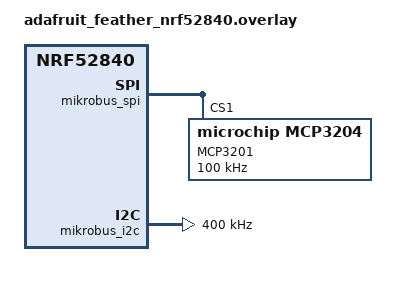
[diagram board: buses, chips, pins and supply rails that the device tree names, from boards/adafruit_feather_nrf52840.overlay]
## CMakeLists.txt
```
# SPDX-License-Identifier: Apache-2.0
set_property(GLOBAL PROPERTY CSTD c11)

set(SHIELD mikroe_feather_click mikroe_eth_click)

cmake_minimum_required(VERSION 3.13.1)
find_package(Zephyr REQUIRED HINTS $ENV{ZEPHYR_BASE})
project(dumb_http_server)

# FILE(GLOB app_sources src/*.c)
FILE(GLOB app_sources src/extra.c src/output/*.c)
target_sources(app PRIVATE ${app_sources})

set(gen_dir ${ZEPHYR_BINARY_DIR}/include/generated/)

generate_inc_file_for_target(app src/response_small.html.bin ${gen_dir}/response_small.html.bin.inc)
generate_inc_file_for_target(app src/response_big.html.bin   ${gen_dir}/response_big.html.bin.inc)

include(${ZEPHYR_BASE}/samples/net/common/common.cmake)
```

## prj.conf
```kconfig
# General config
# CONFIG_MINIMAL_LIBC=y
CONFIG_NEWLIB_LIBC=y
CONFIG_NEWLIB_LIBC_NANO=y
CONFIG_POSIX_API=y

CONFIG_BOOTLOADER_MCUBOOT=y
CONFIG_MCUBOOT_SIGNATURE_KEY_FILE="bootloader/mcuboot/root-rsa-2048.pem"
CONFIG_REBOOT=y
CONFIG_IMG_ENABLE_IMAGE_CHECK=y

CONFIG_FLASH=y
CONFIG_FLASH_PAGE_LAYOUT=y
CONFIG_MCUBOOT_BOOTUTIL_LIB=y
CONFIG_IMG_MANAGER=y
CONFIG_MCUBOOT_IMG_MANAGER=y
CONFIG_MCUBOOT_TRAILER_SWAP_TYPE=y

CONFIG_PRINTK=y
CONFIG_STDOUT_CONSOLE=y

CONFIG_POSIX_API=y

CONFIG_SPI=y
CONFIG_I2C=y

CONFIG_LOG=y
CONFIG_LOG_DEFAULT_LEVEL=3

CONFIG_ENTROPY_GENERATOR=y
CONFIG_TEST_RANDOM_GENERATOR=y

# Networking tweaks
# Required to handle large number of consecutive connections,
# e.g. when testing with ApacheBench.
CONFIG_NET_TCP_TIME_WAIT_DELAY=3
```

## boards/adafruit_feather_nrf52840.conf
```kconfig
CONFIG_NETWORKING=y
CONFIG_NET_IPV4=y
CONFIG_NET_IPV6=y
CONFIG_NET_TCP=y
CONFIG_NET_SOCKETS=y
CONFIG_NET_SOCKETS_POSIX_NAMES=y

CONFIG_NET_CONFIG_AUTO_INIT=y
# Network driver config
# CONFIG_TEST_RANDOM_GENERATOR=y
CONFIG_NET_DHCPV4=n

# Network address config
CONFIG_NET_CONFIG_SETTINGS=y
CONFIG_NET_CONFIG_NEED_IPV4=y
CONFIG_NET_CONFIG_NEED_IPV6=y

# Networking tweaks
# CONFIG_NET_TCP_TIME_WAIT_DELAY=3

# Network debug config
CONFIG_NET_LOG=y


# CONFIG_NET_BUF_LOG_LEVEL_WRN=y
# CONFIG_NET_MAX_CONN=6
# CONFIG_NET_MAX_CONTEXTS=3
# CONFIG_NET_PKT_RX_COUNT=8
# CONFIG_NET_PKT_TX_COUNT=8
# CONFIG_NET_BUF_RX_COUNT=10
# CONFIG_NET_BUF_TX_COUNT=10

CONFIG_NET_LOG=y
CONFIG_NET_ROUTE_LOG_LEVEL_INF=y
# CONFIG_NET_ROUTE_MCAST is not set

CONFIG_NET_CONFIG_MY_IPV4_ADDR="10.0.7.8"
CONFIG_NET_CONFIG_MY_IPV4_GW="10.0.7.0"
# CONFIG_NET_CONFIG_MY_IPV4_ADDR="10.1.1.224"
CONFIG_NET_CONFIG_MY_IPV6_ADDR="2001:db8::6"
# CONFIG_NET_IPV6_NBR_CACHE_LOG_LEVEL_DEFAULT is not set
# CONFIG_NET_IPV6_LOG_LEVEL_ERR=y
# CONFIG_NET_IPV6_NBR_CACHE_LOG_LEVEL_ERR=y

# CONFIG_NET_CONFIG_PEER_IPV6_ADDR=""
# CONFIG_NET_IPV6_ND=y
# CONFIG_NET_IPV6_MLD=y
# CONFIG_NET_IPV6_MAX_NEIGHBORS=12
# CONFIG_NET_IF_MCAST_IPV6_ADDR_COUNT=8
# CONFIG_NET_IF_UNICAST_IPV6_ADDR_COUNT=8
# CONFIG_NET_ROUTE_MCAST=n
# CONFIG_NET_MAX_MCAST_ROUTES=n

# CONFIG_NET_CONFIG_MY_IPV4_ADDR="10.0.6.86"
# CONFIG_NET_CONFIG_PEER_IPV4_ADDR="10.42.0.5"

CONFIG_MAIN_STACK_SIZE=16384
CONFIG_HEAP_MEM_POOL_SIZE=49152
```

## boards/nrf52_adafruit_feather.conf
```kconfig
CONFIG_MAIN_STACK_SIZE=10288

CONFIG_IMG_MANAGER=y
CONFIG_IMG_BLOCK_BUF_SIZE=512


# CONFIG_HEAP_MEM_POOL_SIZE=26624
CONFIG_HEAP_MEM_POOL_SIZE=28672
# CONFIG_HEAP_MEM_POOL_SIZE=29696

# CONFIG_NEWLIB_LIBC_ALIGNED_HEAP_SIZE=26624
# CONFIG_NEWLIB_LIBC_MIN_REQUIRED_HEAP_SIZE=26624
# CONFIG_TRACING_HEAP=y

CONFIG_NET_BUF_LOG_LEVEL_INF=y
CONFIG_NET_MAX_CONN=3
CONFIG_NET_MAX_CONTEXTS=3
CONFIG_NET_PKT_RX_COUNT=8
CONFIG_NET_PKT_TX_COUNT=8
CONFIG_NET_BUF_RX_COUNT=10
CONFIG_NET_BUF_TX_COUNT=10
```

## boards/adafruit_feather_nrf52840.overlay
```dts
/*
 * Copyright (c) 2020 Vestas Wind Systems A/S
 *
 * SPDX-License-Identifier: Apache-2.0
 */


&mikrobus_spi {
	status = "okay";

	click_spi2: spi-device@1 {
		compatible = "microchip,mcp3204";
		reg = <0x1>;
		spi-max-frequency = <100000>;
		label = "MCP3201";
		#io-channel-cells = <1>;
	};
};

// not needed but fixes upstream dts
&mikrobus_i2c {
	status = "okay";
	clock-frequency = <I2C_BITRATE_FAST>;
};
```

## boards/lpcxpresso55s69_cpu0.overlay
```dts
/*
 * Copyright (C) 2020, NXP
 *
 * SPDX-License-Identifier: Apache-2.0
 */

/delete-node/ &eth_click;


// &flash0 {

// 	partitions {
// 		compatible = "fixed-partitions";
// 		#address-cells = <1>;
// 		#size-cells = <1>;
// 		/* Please enable mcuboot's swap move, no scratch */

// 		boot_partition: partition@0 {
// 			label = "mcuboot";
// 			reg = <0x00000000 0x0000A000>;
// 			read-only;
// 		};
// 		slot0_partition: partition@A000 {
// 			label = "image-0";
// 			reg = <0x0000A000 0x00038000>;
// 		};
// 		slot1_partition: partition@42000 {
// 			label = "image-1";
// 			reg = <0x00042000 0x00038000>;
// 		};
// 		// slot2_partition: partition@48000 {
// 		// 	label = "image-2";
// 		// 	reg = <0x00048000 0x00028000>;
// 		// };
// 		// slot3_partition: partition@70000 {
// 		// 	label = "image-3";
// 		// 	reg = <0x00070000 0x00018000>;
// 		// };
// 		scratch_partition: partition@88000  {
// 			label = "image-scratch";
// 			reg = <0x00088000 0x00004000>;
// 		};
// 		/*
// 		 * The flash starting at 0x8C000 and ending at
// 		 * 0x949FF is reserved for the application.
// 		 */
// 		storage_partition: partition@8C000 {
// 			label = "storage";
// 			reg = <0x0008C000 0x00009400>;
// 		};
// 	};
// };


&peripheral {

	iap: flash-controller@34000 {
		flash0: flash@0 {
			compatible = "soc-nv-flash";
			label = "MCUX_FLASH";
			reg = <0x0 DT_SIZE_K(630)>;
			erase-block-size = <32768>;
			write-block-size = <512>;
		};

	};

	hs_lspi: spi@9f000 {
		compatible = "nxp,lpc-spi";
		/* Enabling cs-gpios below will allow using GPIO CS,
		 rather than Flexcomm SS */
		cs-gpios = <&gpio0 20 GPIO_ACTIVE_LOW>,
			<&gpio1 1 GPIO_ACTIVE_LOW>,
			<&gpio1 12 GPIO_ACTIVE_LOW>,
			<&gpio1 26 GPIO_ACTIVE_LOW>;
		reg = <0x9f000 0x1000>;
		interrupts = <59 0>;
		clocks = <&syscon MCUX_HS_SPI_CLK>;
		label = "HS_LSPI";
		status = "disabled";
		#address-cells = <1>;
		#size-cells = <0>;
	};
};

&mikrobus_spi {
	status = "okay";


    /* LPCXpresso55xxx boards all use SSEL1. */
	eth_click: eth_click@1 {
		compatible = "microchip,enc28j60";
		reg = <1>;
		local-mac-address = [01 01 01 01 02 03];
		/* Errata B7/1 specifies min 8Mhz, 20MHz max according to RM */
		spi-max-frequency = <10000000>;
		int-gpios = <&mikrobus_header 7 GPIO_ACTIVE_LOW>;	/* INT */
		// cs-gpios = <&mikrobus_header 2 GPIO_ACTIVE_LOW>;	/* CS */
		label = "ETH_CLICK";
	};
};
```

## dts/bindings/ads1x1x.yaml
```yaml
# Copyright (c) 2019 Karsten Koenig
# SPDX-License-Identifier: Apache-2.0

description: ti ads adc

compatible: "ti,ads1x1x"

include: [spi-device.yaml]

properties:
    int-gpios:
      type: phandle-array
      required: true
      description: |
        Interrupt pin.

        This pin signals active low when produced by the controller. The
        property value should ensure the flags properly describe the signal
        that is presented to the driver.
    reg:
      type: array
      required: true
```

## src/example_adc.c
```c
/*
 * Copyright (c) 2020 Libre Solar Technologies GmbH
 *
 * SPDX-License-Identifier: Apache-2.0
 */

#include <zephyr.h>
#include <sys/printk.h>
#include <drivers/adc.h>

#if !DT_NODE_EXISTS(DT_PATH(zephyr_user)) || \
	!DT_NODE_HAS_PROP(DT_PATH(zephyr_user), io_channels)
#error "No suitable devicetree overlay specified"
#endif

#define ADC_NUM_CHANNELS	DT_PROP_LEN(DT_PATH(zephyr_user), io_channels)

#if ADC_NUM_CHANNELS > 2
#error "Currently only 1 or 2 channels supported in this sample"
#endif

#if ADC_NUM_CHANNELS == 2 && !DT_SAME_NODE( \
	DT_PHANDLE_BY_IDX(DT_PATH(zephyr_user), io_channels, 0), \
	DT_PHANDLE_BY_IDX(DT_PATH(zephyr_user), io_channels, 1))
#error "Channels have to use the same ADC."
#endif

#define ADC_NODE		DT_PHANDLE(DT_PATH(zephyr_user), io_channels)

/* Common settings supported by most ADCs */
#define ADC_RESOLUTION		12
#define ADC_GAIN		ADC_GAIN_1
#define ADC_REFERENCE		ADC_REF_INTERNAL
#define ADC_ACQUISITION_TIME	ADC_ACQ_TIME_DEFAULT

/* Get the numbers of up to two channels */
static uint8_t channel_ids[ADC_NUM_CHANNELS] = {
	DT_IO_CHANNELS_INPUT_BY_IDX(DT_PATH(zephyr_user), 0),
#if ADC_NUM_CHANNELS == 2
	DT_IO_CHANNELS_INPUT_BY_IDX(DT_PATH(zephyr_user), 1)
#endif
};

static int16_t sample_buffer[ADC_NUM_CHANNELS];

struct adc_channel_cfg channel_cfg = {
	.gain = ADC_GAIN,
	.reference = ADC_REFERENCE,
	.acquisition_time = ADC_ACQUISITION_TIME,
	/* channel ID will be overwritten below */
	.channel_id = 0,
	.differential = 0
};

struct adc_sequence sequence = {
	/* individual channels will be added below */
	.channels    = 0,
	.buffer      = sample_buffer,
	/* buffer size in bytes, not number of samples */
	.buffer_size = sizeof(sample_buffer),
	.resolution  = ADC_RESOLUTION,
};

void main(void)
{
	int err;
	const struct device *dev_adc = DEVICE_DT_GET(ADC_NODE);

	if (!device_is_ready(dev_adc)) {
		printk("ADC device not found\n");
		return;
	}

	/*
	 * Configure channels individually prior to sampling
	 */
	for (uint8_t i = 0; i < ADC_NUM_CHANNELS; i++) {
		channel_cfg.channel_id = channel_ids[i];
#ifdef CONFIG_ADC_NRFX_SAADC
		channel_cfg.input_positive = SAADC_CH_PSELP_PSELP_AnalogInput0
					     + channel_ids[i];
#endif

		adc_channel_setup(dev_adc, &channel_cfg);

		sequence.channels |= BIT(channel_ids[i]);
	}

	int32_t adc_vref = adc_ref_internal(dev_adc);

	while (1) {
		/*
		 * Read sequence of channels (fails if not supported by MCU)
		 */
		err = adc_read(dev_adc, &sequence);
		if (err != 0) {
			printk("ADC reading failed with error %d.\n", err);
			return;
		}

		printk("ADC reading:");
		for (uint8_t i = 0; i < ADC_NUM_CHANNELS; i++) {
			int32_t raw_value = sample_buffer[i];

			printk(" %d", raw_value);
			if (adc_vref > 0) {
				/*
				 * Convert raw reading to millivolts if driver
				 * supports reading of ADC reference voltage
				 */
				int32_t mv_value = raw_value;

				adc_raw_to_millivolts(adc_vref, ADC_GAIN,
					ADC_RESOLUTION, &mv_value);
				printk(" = %d mV  ", mv_value);
			}
		}
		printk("\n");

		k_sleep(K_MSEC(1000));
	}
}
```

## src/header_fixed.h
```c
#include <stdio.h>

#include <netinet/in.h>
#include <sys/socket.h>
#include <unistd.h>

#include <string.h>
#include <arpa/inet.h>
#include <errno.h>

#include "nimbase.h"
```
